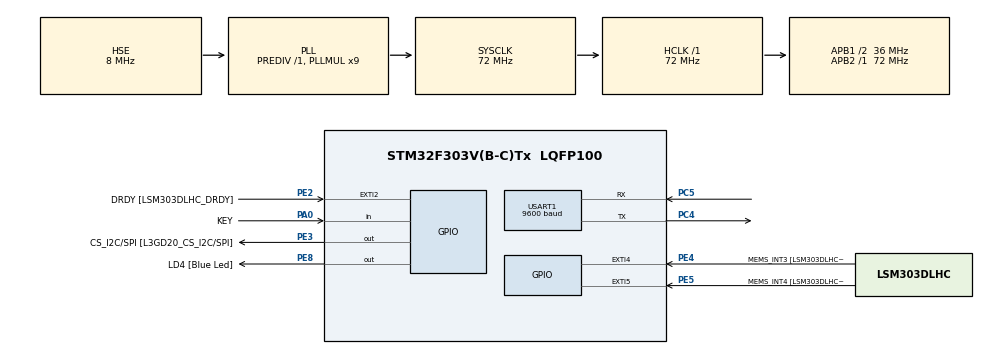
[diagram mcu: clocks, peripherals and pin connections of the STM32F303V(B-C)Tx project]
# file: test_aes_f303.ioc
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Mcu.Family=STM32F3
RCC.CortexFreq_Value=72000000
USART1.BaudRate=9600
PA14.GPIO_Label=SWCLK
PE8.GPIO_PuPd=GPIO_NOPULL
RCC.SYSCLKSourceVirtual=RCC_SYSCLKSOURCE_PLLCLK
PA0.GPIO_Label=KEY
PC5.Mode=Asynchronous
PC15-OSC32_OUT.GPIO_Label=OSC32_OUT
ProjectManager.StackSize=0x400
PE5.GPIO_PuPd=GPIO_NOPULL
RCC.HCLKFreq_Value=72000000
RCC.APB2TimFreq_Value=72000000
PE5.Signal=GPXTI5
RCC.AHBFreq_Value=72000000
RCC.HSE_VALUE=8000000
PF0-OSC_IN.GPIO_Label=OSC_IN
RCC.PLLMUL=RCC_PLL_MUL9
PA14.Mode=Serial_Wire
PE4.GPIO_Label=MEMS_INT3 [LSM303DLHC_INT1]
PE2.Signal=GPXTI2
PE4.Signal=GPXTI4
PA0.Signal=GPIO_Input
Mcu.Package=LQFP100
PA0.GPIO_PuPd=GPIO_NOPULL
PE8.GPIO_Speed=GPIO_SPEED_FREQ_LOW
RCC.APB1TimFreq_Value=72000000
PE8.GPIO_ModeDefaultOutputPP=GPIO_MODE_OUTPUT_PP
PC14-OSC32_IN.GPIO_Label=OSC32_IN
PC5.Signal=USART1_RX
PF1-OSC_OUT.Mode=HSE-External-Oscillator
PE2.GPIO_Label=DRDY [LSM303DLHC_DRDY]
PF1-OSC_OUT.Signal=RCC_OSC_OUT
PC4.Mode=Asynchronous
PB3.GPIO_Label=SWO
RCC.PLLSourceVirtual=RCC_PLLSOURCE_HSE
PC4.Signal=USART1_TX
PE4.GPIO_ModeDefaultEXTI=GPIO_MODE_EVT_RISING
PA0.GPIO_Mode=GPIO_MODE_INPUT
RCC.APB1CLKDivider=RCC_HCLK_DIV2
PC14-OSC32_IN.Signal=RCC_OSC32_IN
USART1.VirtualMode-Asynchronous=VM_ASYNC
PA13.Signal=SYS_JTMS-SWDIO
ProjectManager.TargetToolchain=STM32CubeIDE
PE5.GPIO_ModeDefaultEXTI=GPIO_MODE_EVT_RISING
PE8.GPIO_Label=LD4 [Blue Led]
RCC.USBFreq_Value=72000000
RCC.LSE_VALUE=32768
PC15-OSC32_OUT.Signal=RCC_OSC32_OUT
PF0-OSC_IN.Mode=HSE-External-Oscillator
PE2.GPIO_PuPd=GPIO_NOPULL
board=STM32F3DISCOVERY
RCC.APB2Freq_Value=72000000
PE8.Signal=GPIO_Output
PF1-OSC_OUT.GPIO_Label=OSC_OUT
PE3.GPIO_PuPd=GPIO_NOPULL
PA13.Mode=Serial_Wire
Mcu.Name=STM32F303V(B-C)Tx
PA13.GPIO_Label=SWDIO
PE4.GPIO_PuPd=GPIO_NOPULL
PB3.Signal=SYS_JTDO-TRACESWO
RCC.SYSCLKFreq_VALUE=72000000
PE3.GPIO_Speed=GPIO_SPEED_FREQ_LOW
PE3.GPIO_ModeDefaultOutputPP=GPIO_MODE_OUTPUT_PP
PE5.GPIO_Label=MEMS_INT4 [LSM303DLHC_INT2]
PA14.Signal=SYS_JTCK-SWCLK
ProjectManager.HeapSize=0x200
RCC.HSI_VALUE=8000000
NVIC.PriorityGroup=NVIC_PRIORITYGROUP_0
PE3.Signal=GPIO_Output
PE3.GPIO_Label=CS_I2C/SPI [L3GD20_CS_I2C/SPI]
PE2.GPIO_ModeDefaultEXTI=GPIO_MODE_EVT_RISING
PF0-OSC_IN.Signal=RCC_OSC_IN
RCC.APB1Freq_Value=36000000
VP_CRC_VS_CRC.Mode=CRC_Activate

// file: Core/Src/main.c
/* USER CODE BEGIN Header */
/**
 ******************************************************************************
 * @file           : main.c
 * @brief          : Main program body
 ******************************************************************************
 * @attention
 *
 * <h2><center>&copy; Copyright (c) 2021 STMicroelectronics.
 * All rights reserved.</center></h2>
 *
 * This software component is licensed by ST under BSD 3-Clause license,
 * the "License"; You may not use this file except in compliance with the
 * License. You may obtain a copy of the License at:
 *                        opensource.org/licenses/BSD-3-Clause
 *
 ******************************************************************************
 */
/* USER CODE END Header */
#include "main.h"

/* USER CODE BEGIN Includes */
#include "crypto.h"
#include "crypto_init.h"
/* USER CODE END Includes */

CRC_HandleTypeDef hcrc;

UART_HandleTypeDef huart1;

/* USER CODE BEGIN PV */

//флаг при появлении прерывания от нажатия кнопки
uint8_t flag_key_interrupt = 0;

/* Private typedef -----------------------------------------------------------*/
typedef enum
{
	FAILED = 0, PASSED = !FAILED
} TestStatus;
/* Private define ------------------------------------------------------------*/

/* Private macro -------------------------------------------------------------*/

extern const uint8_t Plaintext[PLAINTEXT_LENGTH]; //текст для шифрования
extern uint8_t Key[CRL_AES128_KEY]; //ключ шифрования
extern uint8_t IV[CRL_AES_BLOCK]; // вектор
extern uint8_t OutputMessage[PLAINTEXT_LENGTH]; //преобразованный буффер
extern uint32_t OutputMessageLength; // размер преобразованного массива
extern const uint8_t Expected_Ciphertext[PLAINTEXT_LENGTH]; //ожидаемое значение

/* USER CODE END PV */

void SystemClock_Config(void);
static void MX_GPIO_Init(void);
static void MX_CRC_Init(void);
static void MX_USART1_UART_Init(void);
/* USER CODE BEGIN PFP */
/* Private function prototypes -----------------------------------------------*/

TestStatus Buffercmp(const uint8_t *pBuffer, uint8_t *pBuffer1,
		uint16_t BufferLength);
/* USER CODE END PFP */

int main(void)
{
	/* USER CODE BEGIN 1 */
	int32_t status = AES_SUCCESS;
	/* USER CODE END 1 */

	/* MCU Configuration--------------------------------------------------------*/

	/* Reset of all peripherals, Initializes the Flash interface and the Systick. */
	HAL_Init();

	/* Configure the system clock */
	SystemClock_Config();

	/* Initialize all configured peripherals */
	MX_GPIO_Init();
	MX_CRC_Init();
	MX_USART1_UART_Init();
	/* USER CODE BEGIN 2 */
	/* Enable CRC clock */
	__CRC_CLK_ENABLE()
	;

	//Убрать вхождение в режим сна после обработки последнего прерывания
	//HAL_PWR_DisableSleepOnExit();
	//отключаем прерывания от SysTick
	//HAL_SuspendTick();
	//Погружение контроллера в режим сна после инициализации
	//PWR_SLEEPENTRY_WFI выход из режима произойдёт после прерывания
	//HAL_PWR_EnterSLEEPMode(PWR_LOWPOWERREGULATOR_ON, PWR_SLEEPENTRY_WFI);

	/* Encrypt DATA with AES in CTR mode */

	/*if (flag_key_interrupt == 1)
	 {*/
	status = STM32_AES_CTR_Encrypt((uint8_t*) Plaintext, PLAINTEXT_LENGTH, Key,
			IV, sizeof(IV), OutputMessage, &OutputMessageLength);
	if (status == AES_SUCCESS)
	{
		if (Buffercmp(Expected_Ciphertext, OutputMessage, PLAINTEXT_LENGTH)
				== PASSED)
		{
			/* add application traitment in case of AES CTR encryption is passed */
		}
		else
		{
			Error_Handler();
		}
	}
	else
	{
		/* In case of encryption not success the possible values of status:
		 * AES_ERR_BAD_CONTEXT, AES_ERR_BAD_PARAMETER, AES_ERR_BAD_OPERATION
		 */
		Error_Handler();
	}
	status = STM32_AES_CTR_Decrypt((uint8_t*) Expected_Ciphertext,
	PLAINTEXT_LENGTH, Key, IV, sizeof(IV), OutputMessage, &OutputMessageLength);
	if (status == AES_SUCCESS)
	{
		if (Buffercmp(Plaintext, OutputMessage, PLAINTEXT_LENGTH) == PASSED)
		{
			/* add application traitment in case of AES CTR decryption is passed */
		}
		else
		{
			Error_Handler();
		}
	}
	else
	{
		/* In case of decryption not success the possible values of status:
		 * AES_ERR_BAD_CONTEXT, AES_ERR_BAD_PARAMETER, AES_ERR_BAD_OPERATION
		 */
		Error_Handler();
	}

	/*HAL_UART_Transmit(&huart1, (uint8_t*) "proverka\n", 8, 1000);

	 HAL_Delay(100);    // защита от дребизга кнопки
	 flag_key_interrupt = 0;
	 }*/

	/* USER CODE END 2 */

	/* Infinite loop */
	while (1)
	{

	}
}

void SystemClock_Config(void)
{
	RCC_OscInitTypeDef RCC_OscInitStruct =
	{ 0 };
	RCC_ClkInitTypeDef RCC_ClkInitStruct =
	{ 0 };
	RCC_PeriphCLKInitTypeDef PeriphClkInit =
	{ 0 };

	/** Initializes the RCC Oscillators according to the specified parameters
	 * in the RCC_OscInitTypeDef structure.
	 */
	RCC_OscInitStruct.OscillatorType = RCC_OSCILLATORTYPE_HSE;
	RCC_OscInitStruct.HSEState = RCC_HSE_ON;
	RCC_OscInitStruct.HSEPredivValue = RCC_HSE_PREDIV_DIV1;
	RCC_OscInitStruct.HSIState = RCC_HSI_ON;
	RCC_OscInitStruct.PLL.PLLState = RCC_PLL_ON;
	RCC_OscInitStruct.PLL.PLLSource = RCC_PLLSOURCE_HSE;
	RCC_OscInitStruct.PLL.PLLMUL = RCC_PLL_MUL9;
	if (HAL_RCC_OscConfig(&RCC_OscInitStruct) != HAL_OK)
	{
		Error_Handler();
	}
	/** Initializes the CPU, AHB and APB buses clocks
	 */
	RCC_ClkInitStruct.ClockType = RCC_CLOCKTYPE_HCLK | RCC_CLOCKTYPE_SYSCLK
			| RCC_CLOCKTYPE_PCLK1 | RCC_CLOCKTYPE_PCLK2;
	RCC_ClkInitStruct.SYSCLKSource = RCC_SYSCLKSOURCE_PLLCLK;
	RCC_ClkInitStruct.AHBCLKDivider = RCC_SYSCLK_DIV1;
	RCC_ClkInitStruct.APB1CLKDivider = RCC_HCLK_DIV2;
	RCC_ClkInitStruct.APB2CLKDivider = RCC_HCLK_DIV1;

	if (HAL_RCC_ClockConfig(&RCC_ClkInitStruct, FLASH_LATENCY_2) != HAL_OK)
	{
		Error_Handler();
	}
	PeriphClkInit.PeriphClockSelection = RCC_PERIPHCLK_USART1;
	PeriphClkInit.Usart1ClockSelection = RCC_USART1CLKSOURCE_PCLK2;
	if (HAL_RCCEx_PeriphCLKConfig(&PeriphClkInit) != HAL_OK)
	{
		Error_Handler();
	}
}

static void MX_CRC_Init(void)
{

	hcrc.Instance = CRC;
	hcrc.Init.DefaultPolynomialUse = DEFAULT_POLYNOMIAL_ENABLE;
	hcrc.Init.DefaultInitValueUse = DEFAULT_INIT_VALUE_ENABLE;
	hcrc.Init.InputDataInversionMode = CRC_INPUTDATA_INVERSION_NONE;
	hcrc.Init.OutputDataInversionMode = CRC_OUTPUTDATA_INVERSION_DISABLE;
	hcrc.InputDataFormat = CRC_INPUTDATA_FORMAT_BYTES;
	if (HAL_CRC_Init(&hcrc) != HAL_OK)
	{
		Error_Handler();
	}

}

static void MX_USART1_UART_Init(void)
{

	huart1.Instance = USART1;
	huart1.Init.BaudRate = 9600;
	huart1.Init.WordLength = UART_WORDLENGTH_8B;
	huart1.Init.StopBits = UART_STOPBITS_1;
	huart1.Init.Parity = UART_PARITY_NONE;
	huart1.Init.Mode = UART_MODE_TX_RX;
	huart1.Init.HwFlowCtl = UART_HWCONTROL_NONE;
	huart1.Init.OverSampling = UART_OVERSAMPLING_16;
	huart1.Init.OneBitSampling = UART_ONE_BIT_SAMPLE_DISABLE;
	huart1.AdvancedInit.AdvFeatureInit = UART_ADVFEATURE_NO_INIT;
	if (HAL_UART_Init(&huart1) != HAL_OK)
	{
		Error_Handler();
	}

}

static void MX_GPIO_Init(void)
{
	GPIO_InitTypeDef GPIO_InitStruct =
	{ 0 };

	/* GPIO Ports Clock Enable */
	__HAL_RCC_GPIOE_CLK_ENABLE();
	__HAL_RCC_GPIOC_CLK_ENABLE();
	__HAL_RCC_GPIOF_CLK_ENABLE();
	__HAL_RCC_GPIOA_CLK_ENABLE();
	__HAL_RCC_GPIOB_CLK_ENABLE();

	/*Configure GPIO pin Output Level */
	HAL_GPIO_WritePin(GPIOE, CS_I2C_SPI_Pin | LD4_Pin, GPIO_PIN_RESET);

	/*Configure GPIO pins : DRDY_Pin MEMS_INT3_Pin MEMS_INT4_Pin */
	GPIO_InitStruct.Pin = DRDY_Pin | MEMS_INT3_Pin | MEMS_INT4_Pin;
	GPIO_InitStruct.Mode = GPIO_MODE_EVT_RISING;
	GPIO_InitStruct.Pull = GPIO_NOPULL;
	HAL_GPIO_Init(GPIOE, &GPIO_InitStruct);

	/*Configure GPIO pins : CS_I2C_SPI_Pin LD4_Pin */
	GPIO_InitStruct.Pin = CS_I2C_SPI_Pin | LD4_Pin;
	GPIO_InitStruct.Mode = GPIO_MODE_OUTPUT_PP;
	GPIO_InitStruct.Pull = GPIO_NOPULL;
	GPIO_InitStruct.Speed = GPIO_SPEED_FREQ_LOW;
	HAL_GPIO_Init(GPIOE, &GPIO_InitStruct);

	/*Configure GPIO pin : KEY_Pin */
	GPIO_InitStruct.Pin = KEY_Pin;
	GPIO_InitStruct.Mode = GPIO_MODE_INPUT;
	GPIO_InitStruct.Pull = GPIO_NOPULL;
	HAL_GPIO_Init(KEY_GPIO_Port, &GPIO_InitStruct);

}

/* USER CODE BEGIN 4 */

void HAL_GPIO_EXTI_Callback(uint16_t GPIO_Pin)
{
	if (GPIO_Pin == KEY_Pin)
	{
		if (flag_key_interrupt == 0)
			flag_key_interrupt = 1;
		//HAL_ResumeTick(); // включаем прерывания от SysTick
	}
}

/**
 * @brief  Compares two buffers.
 * @param  pBuffer, pBuffer1: buffers to be compared.
 * @param  BufferLength: buffer's length
 * @retval PASSED: pBuffer identical to pBuffer1
 *         FAILED: pBuffer differs from pBuffer1
 */
TestStatus Buffercmp(const uint8_t *pBuffer, uint8_t *pBuffer1,
		uint16_t BufferLength)
{
	while (BufferLength--)
	{
		if (*pBuffer != *pBuffer1)
		{
			return FAILED;
		}

		pBuffer++;
		pBuffer1++;
	}

	return PASSED;
}
/* USER CODE END 4 */

void Error_Handler(void)
{
	__disable_irq();
	while (1)
	{
	}
}

/************************ (C) COPYRIGHT STMicroelectronics *****END OF FILE****/
